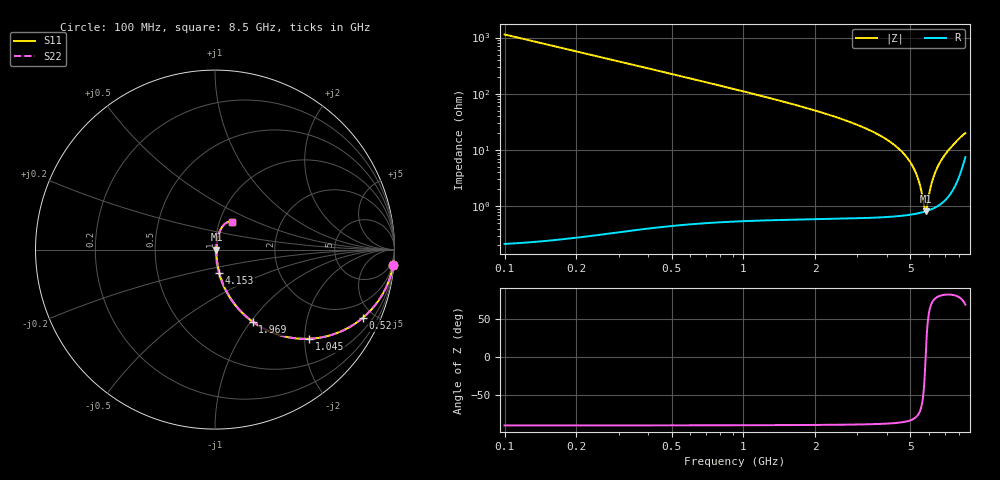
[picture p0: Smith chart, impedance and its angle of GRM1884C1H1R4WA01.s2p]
!Murata Part Number: GRM1884C1H1R4WA01
!These Parameters are Measured in Series Mode Connection
!Data Generated on Mar 30, 2021
!  o--ll--o
!Port1  Port2
!  o------o
!Operation Temp=25[degC], DC Bias Voltage=0[V]
!Freq. Start=100[MHz] Stop=9[GHz] 401[Steps]
# Hz S RI R 50
!Freq.(Hz) S11(Real) S11(Imag) S21(Real) S21(Imag) S12(Real) S12(Imag) S22(Real) S22(Imag)
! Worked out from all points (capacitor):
!   401 points, 100 MHz to 8.5 GHz, reference 50 ohm
!   read as one part in series: C = 1.4 pF near 142 MHz
!   lowest |Z| = 808 mohm at 5.791 GHz (marker M1)
!   series resonance near 5.794 GHz, so ESL is about 540 pH
!   S11 on the Smith chart (normalised r, x): 100 MHz: 1, -23; 520 MHz: 1.01, -4.33; 1.045 GHz: 1.01, -2.10; 1.969 GHz: 1.01, -1.02; 4.153 GHz: 1.01, -0.27; 8.5 GHz: 1.15, +0.37
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1e8  0.9923 -0.0873  0.0077 0.0873  0.0077 0.0873  0.9923 -0.0873
2.68e8  0.9469 -0.2238  0.0531 0.2238  0.0531 0.2238  0.9469 -0.2238
5.2e8  0.824 -0.3798  0.176 0.3798  0.176 0.3798  0.824 -0.3798
7.72e8  0.6758 -0.4663  0.3242 0.4663  0.3242 0.4663  0.6758 -0.4663
1.045e9  0.5254 -0.4968  0.4746 0.4968  0.4746 0.4968  0.5254 -0.4968
1.507e9  0.3327 -0.4671  0.6673 0.4671  0.6673 0.4671  0.3327 -0.4671
1.969e9  0.2104 -0.4019  0.7896 0.4019  0.7896 0.4019  0.2104 -0.4019
2.914e9  0.0841 -0.2674  0.9159 0.2674  0.9159 0.2674  0.0841 -0.2674
4.153e9  0.0242 -0.1316  0.9758 0.1316  0.9758 0.1316  0.0242 -0.1316
4.3e9  0.0208 -0.118  0.9792 0.118  0.9792 0.118  0.0208 -0.118
4.825e9  0.0122 -0.073  0.9878 0.073  0.9878 0.073  0.0122 -0.073
5.224e9  0.00897 -0.0416  0.991 0.0416  0.991 0.0416  0.00897 -0.0416
5.497e9  0.00801 -0.0213  0.992 0.0213  0.992 0.0213  0.00801 -0.0213
5.707e9  0.00791 -0.00615  0.9921 0.00615  0.9921 0.00615  0.00791 -0.00615
5.791e9  0.00802 -0.000229  0.992 0.000229  0.992 0.000229  0.00802 -0.000229
5.854e9  0.00815 0.00417  0.9918 -0.00417  0.9918 -0.00417  0.00815 0.00417
6.085e9  0.00904 0.0201  0.991 -0.0201  0.991 -0.0201  0.00904 0.0201
6.316e9  0.0105 0.0356  0.9895 -0.0356  0.9895 -0.0356  0.0105 0.0356
6.652e9  0.0139 0.0576  0.9861 -0.0576  0.9861 -0.0576  0.0139 0.0576
7.114e9  0.0214 0.0874  0.9786 -0.0874  0.9786 -0.0874  0.0214 0.0874
7.849e9  0.0453 0.1336  0.9547 -0.1336  0.9547 -0.1336  0.0453 0.1336
8.5e9  0.0964 0.156  0.9036 -0.156  0.9036 -0.156  0.0964 0.156
